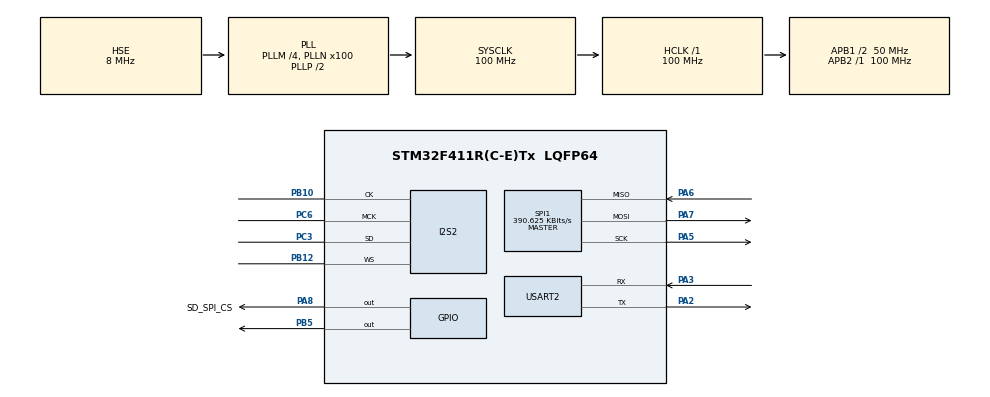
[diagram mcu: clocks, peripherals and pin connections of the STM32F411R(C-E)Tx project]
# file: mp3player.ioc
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Dma.Request0=SPI2_TX
Dma.SPI2_TX.0.Direction=DMA_MEMORY_TO_PERIPH
Dma.SPI2_TX.0.FIFOMode=DMA_FIFOMODE_ENABLE
Dma.SPI2_TX.0.FIFOThreshold=DMA_FIFO_THRESHOLD_FULL
Dma.SPI2_TX.0.Instance=DMA1_Stream4
Dma.SPI2_TX.0.MemBurst=DMA_MBURST_SINGLE
Dma.SPI2_TX.0.MemDataAlignment=DMA_MDATAALIGN_HALFWORD
Dma.SPI2_TX.0.MemInc=DMA_MINC_ENABLE
Dma.SPI2_TX.0.Mode=DMA_CIRCULAR
Dma.SPI2_TX.0.PeriphBurst=DMA_PBURST_SINGLE
Dma.SPI2_TX.0.PeriphDataAlignment=DMA_PDATAALIGN_HALFWORD
Dma.SPI2_TX.0.PeriphInc=DMA_PINC_DISABLE
Dma.SPI2_TX.0.Priority=DMA_PRIORITY_MEDIUM
FATFS._MAX_LFN=255
FATFS._USE_LFN=3
FREERTOS.BinarySemaphores01=i2sDmaDoneSem,Dynamic,NULL,Available
FREERTOS.Queues01=sdQueue,16,SD_Job_t*,0,Dynamic,NULL,NULL;uartQueue,8,char*,0,Dynamic,NULL,NULL;freeBufferQueue,4,void*,0,Dynamic,NULL,NULL;filledBufferQueue,4,void*,0,Dynamic,NULL,NULL
FREERTOS.Tasks01=defaultTask,0,128,StartDefaultTask,Default,NULL,Dynamic,NULL,NULL;GUI_Task,-1,1024,GUI_Start,Default,NULL,Dynamic,NULL,NULL;Audio_Task,3,256,Audio_Start,Default,NULL,Dynamic,NULL,NULL;Mp3Decoder_Task,2,8192,Decoder_Start,Default,NULL,Dynamic,NULL,NULL;SdCard_Task,1,512,SD_Start,Default,NULL,Dynamic,NULL,NULL;Playback_Task,0,256,Playback_Start,Default,NULL,Dynamic,NULL,NULL;UART_Task,-2,512,UART_Start,Default,NULL,Dynamic,NULL,NULL
FREERTOS.configCHECK_FOR_STACK_OVERFLOW=2
FREERTOS.configTOTAL_HEAP_SIZE=65536
I2S2.AudioFreq=I2S_AUDIOFREQ_44K
I2S2.ErrorAudioFreq=10.97 %
I2S2.FullDuplexMode=I2S_FULLDUPLEXMODE_DISABLE
I2S2.Instance=SPI$Index
I2S2.RealAudioFreq=48.828 KHz
I2S2.VirtualMode=I2S_MODE_MASTER
Mcu.Family=STM32F4
Mcu.Name=STM32F411R(C-E)Tx
Mcu.Package=LQFP64
NVIC.DMA1_Stream4_IRQn=true\:5\:0\:false\:false\:true\:true\:false\:true\:true
NVIC.PriorityGroup=NVIC_PRIORITYGROUP_4
NVIC.TIM1_UP_TIM10_IRQn=true\:15\:0\:false\:false\:true\:false\:false\:true\:true
NVIC.TimeBase=TIM1_UP_TIM10_IRQn
NVIC.TimeBaseIP=TIM1
PA13.Mode=Serial_Wire
PA13.Signal=SYS_JTMS-SWDIO
PA14.Mode=Serial_Wire
PA14.Signal=SYS_JTCK-SWCLK
PA2.Mode=Asynchronous
PA2.Signal=USART2_TX
PA3.Mode=Asynchronous
PA3.Signal=USART2_RX
PA5.GPIO_PuPd=GPIO_PULLUP
PA5.Mode=Full_Duplex_Master
PA5.Signal=SPI1_SCK
PA6.GPIO_PuPd=GPIO_PULLUP
PA6.Mode=Full_Duplex_Master
PA6.Signal=SPI1_MISO
PA7.GPIO_PuPd=GPIO_PULLUP
PA7.Mode=Full_Duplex_Master
PA7.Signal=SPI1_MOSI
PA8.GPIO_Label=SD_SPI_CS
PA8.GPIO_PuPd=GPIO_PULLUP
PA8.GPIO_Speed=GPIO_SPEED_FREQ_VERY_HIGH
PA8.PinState=GPIO_PIN_SET
PA8.Signal=GPIO_Output
PB10.Mode=Half_Duplex_Master
PB10.Signal=I2S2_CK
PB12.Mode=Half_Duplex_Master
PB12.Signal=I2S2_WS
PB5.Signal=GPIO_Output
PC3.Mode=Half_Duplex_Master
PC3.Signal=I2S2_SD
PC6.Mode=Master_Clock_Activated
PC6.Signal=I2S2_MCK
PH0\ -\ OSC_IN.Mode=HSE-External-Oscillator
PH0\ -\ OSC_IN.Signal=RCC_OSC_IN
PH1\ -\ OSC_OUT.Mode=HSE-External-Oscillator
PH1\ -\ OSC_OUT.Signal=RCC_OSC_OUT
ProjectManager.HeapSize=0x200
ProjectManager.StackSize=0x400
ProjectManager.TargetToolchain=CMake
RCC.48MHZClocksFreq_Value=50000000
RCC.AHBFreq_Value=100000000
RCC.APB1CLKDivider=RCC_HCLK_DIV2
RCC.APB1Freq_Value=50000000
RCC.APB1TimFreq_Value=100000000
RCC.APB2Freq_Value=100000000
RCC.APB2TimFreq_Value=100000000
RCC.CortexFreq_Value=100000000
RCC.EnbaleCSS=true
RCC.FLatency-AdvancedSettings=FLASH_LATENCY_3
RCC.HCLKFreq_Value=100000000
RCC.HSE_VALUE=8000000
RCC.HSI_VALUE=16000000
RCC.LSE_VALUE=32768
RCC.PLLI2SM=4
RCC.PLLI2SN=50
RCC.PLLM=4
RCC.PLLN=100
RCC.PLLSourceVirtual=RCC_PLLSOURCE_HSE
RCC.SYSCLKFreq_VALUE=100000000
RCC.SYSCLKSource=RCC_SYSCLKSOURCE_PLLCLK
RCC.VCOOutputFreq_Value=200000000
SPI1.BaudRatePrescaler=SPI_BAUDRATEPRESCALER_256
SPI1.CalculateBaudRate=390.625 KBits/s
SPI1.Direction=SPI_DIRECTION_2LINES
SPI1.Mode=SPI_MODE_MASTER
SPI1.VirtualType=VM_MASTER
USART2.VirtualMode=VM_ASYNC
VP_FATFS_VS_Generic.Mode=User_defined
VP_FREERTOS_VS_CMSIS_V1.Mode=CMSIS_V1
VP_SYS_VS_tim1.Mode=TIM1
board=NUCLEO-F411RE

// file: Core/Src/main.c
/* USER CODE BEGIN Header */
/**
  ******************************************************************************
  * @file           : main.c
  * @brief          : Main program body
  ******************************************************************************
  * @attention
  *
  * Copyright (c) 2025 STMicroelectronics.
  * All rights reserved.
  *
  * This software is licensed under terms that can be found in the LICENSE file
  * in the root directory of this software component.
  * If no LICENSE file comes with this software, it is provided AS-IS.
  *
  ******************************************************************************
  */
/* USER CODE END Header */
#include "main.h"
#include "cmsis_os.h"
#include "fatfs.h"

/* USER CODE BEGIN Includes */
#include <stdint.h>
#include <string.h>
#include <stdarg.h> //for va_list var arg functions
#include <stdio.h>
#include "SDCard.h"
#include "ff.h"
#include "portmacro.h"
#include "stm32f411xe.h"
#include "stm32f4xx_hal_def.h"
#include "stm32f4xx_hal_gpio.h"
#define MINIMP3_IMPLEMENTATION
#define MINIMP3_ONLY_MP3
#include "minimp3.h"
/* USER CODE END Includes */

/* USER CODE BEGIN PD */

#define STREAM_BUFFER_NUM 4
#define STREAM_BUFFER_SIZE 2048 //use 2KB for buffer
/* USER CODE END PD */

I2S_HandleTypeDef hi2s2;
DMA_HandleTypeDef hdma_spi2_tx;

SPI_HandleTypeDef hspi1;

UART_HandleTypeDef huart2;

osThreadId defaultTaskHandle;
osThreadId GUI_TaskHandle;
osThreadId Audio_TaskHandle;
osThreadId Mp3Decoder_TaskHandle;
osThreadId SdCard_TaskHandle;
osThreadId Playback_TaskHandle;
osThreadId UART_TaskHandle;
osMessageQId sdQueueHandle;
osMessageQId uartQueueHandle;
osMessageQId freeBufferQueueHandle;
osMessageQId filledBufferQueueHandle;
osSemaphoreId i2sDmaDoneSemHandle;
/* USER CODE BEGIN PV */
static uint8_t sdBuffers[STREAM_BUFFER_NUM][STREAM_BUFFER_SIZE];
/* USER CODE END PV */

void SystemClock_Config(void);
static void MX_GPIO_Init(void);
static void MX_DMA_Init(void);
static void MX_SPI1_Init(void);
static void MX_USART2_UART_Init(void);
static void MX_I2S2_Init(void);
void StartDefaultTask(void const * argument);
void GUI_Start(void const * argument);
void Audio_Start(void const * argument);
void Decoder_Start(void const * argument);
void SD_Start(void const * argument);
void Playback_Start(void const * argument);
void UART_Start(void const * argument);

/* USER CODE BEGIN PFP */
void myprintf(const char *fmt, ...);
/* USER CODE END PFP */

/* USER CODE BEGIN 0 */
void myprintf(const char *fmt, ...) {
  char buffer[256];
  va_list args;
  va_start(args, fmt);
  vsnprintf(buffer, sizeof(buffer), fmt, args);
  va_end(args);
  char *msg = pvPortMalloc(strlen(buffer)+1);
  strcpy(msg, buffer);
  xQueueSend(uartQueueHandle, &msg, portMAX_DELAY);

}

void HAL_I2S_TxCpltCallback(I2S_HandleTypeDef *hi2s)
{
  BaseType_t woken = pdFALSE;
  xSemaphoreGiveFromISR(i2sDmaDoneSemHandle, &woken);
  portYIELD_FROM_ISR(woken);
}
/* USER CODE END 0 */

int main(void)
{

  /* MCU Configuration--------------------------------------------------------*/

  /* Reset of all peripherals, Initializes the Flash interface and the Systick. */
  HAL_Init();

  /* Configure the system clock */
  SystemClock_Config();

  /* Initialize all configured peripherals */
  MX_GPIO_Init();
  MX_DMA_Init();
  MX_SPI1_Init();
  MX_USART2_UART_Init();
  MX_FATFS_Init();
  MX_I2S2_Init();

  /* Create the semaphores(s) */
  /* definition and creation of i2sDmaDoneSem */
  osSemaphoreDef(i2sDmaDoneSem);
  i2sDmaDoneSemHandle = osSemaphoreCreate(osSemaphore(i2sDmaDoneSem), 1);

  /* Create the queue(s) */
  /* definition and creation of sdQueue */
  osMessageQDef(sdQueue, 16, SD_Job_t*);
  sdQueueHandle = osMessageCreate(osMessageQ(sdQueue), NULL);

  /* definition and creation of uartQueue */
  osMessageQDef(uartQueue, 8, char*);
  uartQueueHandle = osMessageCreate(osMessageQ(uartQueue), NULL);

  /* definition and creation of freeBufferQueue */
  osMessageQDef(freeBufferQueue, 4, void*);
  freeBufferQueueHandle = osMessageCreate(osMessageQ(freeBufferQueue), NULL);

  /* definition and creation of filledBufferQueue */
  osMessageQDef(filledBufferQueue, 4, void*);
  filledBufferQueueHandle = osMessageCreate(osMessageQ(filledBufferQueue), NULL);

  /* Create the thread(s) */
  /* definition and creation of defaultTask */
  osThreadDef(defaultTask, StartDefaultTask, osPriorityNormal, 0, 128);
  defaultTaskHandle = osThreadCreate(osThread(defaultTask), NULL);

  /* definition and creation of GUI_Task */
  osThreadDef(GUI_Task, GUI_Start, osPriorityBelowNormal, 0, 1024);
  GUI_TaskHandle = osThreadCreate(osThread(GUI_Task), NULL);

  /* definition and creation of Audio_Task */
  osThreadDef(Audio_Task, Audio_Start, osPriorityRealtime, 0, 256);
  Audio_TaskHandle = osThreadCreate(osThread(Audio_Task), NULL);

  /* definition and creation of Mp3Decoder_Task */
  osThreadDef(Mp3Decoder_Task, Decoder_Start, osPriorityHigh, 0, 8192);
  Mp3Decoder_TaskHandle = osThreadCreate(osThread(Mp3Decoder_Task), NULL);

  /* definition and creation of SdCard_Task */
  osThreadDef(SdCard_Task, SD_Start, osPriorityAboveNormal, 0, 512);
  SdCard_TaskHandle = osThreadCreate(osThread(SdCard_Task), NULL);

  /* definition and creation of Playback_Task */
  osThreadDef(Playback_Task, Playback_Start, osPriorityNormal, 0, 256);
  Playback_TaskHandle = osThreadCreate(osThread(Playback_Task), NULL);

  /* definition and creation of UART_Task */
  osThreadDef(UART_Task, UART_Start, osPriorityLow, 0, 512);
  UART_TaskHandle = osThreadCreate(osThread(UART_Task), NULL);

  /* Start scheduler */
  osKernelStart();

  /* We should never get here as control is now taken by the scheduler */

  /* Infinite loop */
  while (1)
  {

  }
}

void SystemClock_Config(void)
{
  RCC_OscInitTypeDef RCC_OscInitStruct = {0};
  RCC_ClkInitTypeDef RCC_ClkInitStruct = {0};

  /** Configure the main internal regulator output voltage
  */
  __HAL_RCC_PWR_CLK_ENABLE();
  __HAL_PWR_VOLTAGESCALING_CONFIG(PWR_REGULATOR_VOLTAGE_SCALE1);

  /** Initializes the RCC Oscillators according to the specified parameters
  * in the RCC_OscInitTypeDef structure.
  */
  RCC_OscInitStruct.OscillatorType = RCC_OSCILLATORTYPE_HSE;
  RCC_OscInitStruct.HSEState = RCC_HSE_ON;
  RCC_OscInitStruct.PLL.PLLState = RCC_PLL_ON;
  RCC_OscInitStruct.PLL.PLLSource = RCC_PLLSOURCE_HSE;
  RCC_OscInitStruct.PLL.PLLM = 4;
  RCC_OscInitStruct.PLL.PLLN = 100;
  RCC_OscInitStruct.PLL.PLLP = RCC_PLLP_DIV2;
  RCC_OscInitStruct.PLL.PLLQ = 4;
  if (HAL_RCC_OscConfig(&RCC_OscInitStruct) != HAL_OK)
  {
    Error_Handler();
  }

  /** Initializes the CPU, AHB and APB buses clocks
  */
  RCC_ClkInitStruct.ClockType = RCC_CLOCKTYPE_HCLK|RCC_CLOCKTYPE_SYSCLK
                              |RCC_CLOCKTYPE_PCLK1|RCC_CLOCKTYPE_PCLK2;
  RCC_ClkInitStruct.SYSCLKSource = RCC_SYSCLKSOURCE_PLLCLK;
  RCC_ClkInitStruct.AHBCLKDivider = RCC_SYSCLK_DIV1;
  RCC_ClkInitStruct.APB1CLKDivider = RCC_HCLK_DIV2;
  RCC_ClkInitStruct.APB2CLKDivider = RCC_HCLK_DIV1;

  if (HAL_RCC_ClockConfig(&RCC_ClkInitStruct, FLASH_LATENCY_3) != HAL_OK)
  {
    Error_Handler();
  }

  /** Enables the Clock Security System
  */
  HAL_RCC_EnableCSS();
}

static void MX_I2S2_Init(void)
{

  hi2s2.Instance = SPI2;
  hi2s2.Init.Mode = I2S_MODE_MASTER_TX;
  hi2s2.Init.Standard = I2S_STANDARD_PHILIPS;
  hi2s2.Init.DataFormat = I2S_DATAFORMAT_16B;
  hi2s2.Init.MCLKOutput = I2S_MCLKOUTPUT_ENABLE;
  hi2s2.Init.AudioFreq = I2S_AUDIOFREQ_44K;
  hi2s2.Init.CPOL = I2S_CPOL_LOW;
  hi2s2.Init.ClockSource = I2S_CLOCK_PLL;
  hi2s2.Init.FullDuplexMode = I2S_FULLDUPLEXMODE_DISABLE;
  if (HAL_I2S_Init(&hi2s2) != HAL_OK)
  {
    Error_Handler();
  }

}

static void MX_SPI1_Init(void)
{

  /* SPI1 parameter configuration*/
  hspi1.Instance = SPI1;
  hspi1.Init.Mode = SPI_MODE_MASTER;
  hspi1.Init.Direction = SPI_DIRECTION_2LINES;
  hspi1.Init.DataSize = SPI_DATASIZE_8BIT;
  hspi1.Init.CLKPolarity = SPI_POLARITY_LOW;
  hspi1.Init.CLKPhase = SPI_PHASE_1EDGE;
  hspi1.Init.NSS = SPI_NSS_SOFT;
  hspi1.Init.BaudRatePrescaler = SPI_BAUDRATEPRESCALER_256;
  hspi1.Init.FirstBit = SPI_FIRSTBIT_MSB;
  hspi1.Init.TIMode = SPI_TIMODE_DISABLE;
  hspi1.Init.CRCCalculation = SPI_CRCCALCULATION_DISABLE;
  hspi1.Init.CRCPolynomial = 10;
  if (HAL_SPI_Init(&hspi1) != HAL_OK)
  {
    Error_Handler();
  }

}

static void MX_USART2_UART_Init(void)
{

  huart2.Instance = USART2;
  huart2.Init.BaudRate = 115200;
  huart2.Init.WordLength = UART_WORDLENGTH_8B;
  huart2.Init.StopBits = UART_STOPBITS_1;
  huart2.Init.Parity = UART_PARITY_NONE;
  huart2.Init.Mode = UART_MODE_TX_RX;
  huart2.Init.HwFlowCtl = UART_HWCONTROL_NONE;
  huart2.Init.OverSampling = UART_OVERSAMPLING_16;
  if (HAL_UART_Init(&huart2) != HAL_OK)
  {
    Error_Handler();
  }

}

static void MX_DMA_Init(void)
{

  /* DMA controller clock enable */
  __HAL_RCC_DMA1_CLK_ENABLE();

  /* DMA interrupt init */
  /* DMA1_Stream4_IRQn interrupt configuration */
  HAL_NVIC_SetPriority(DMA1_Stream4_IRQn, 5, 0);
  HAL_NVIC_EnableIRQ(DMA1_Stream4_IRQn);

}

static void MX_GPIO_Init(void)
{
  GPIO_InitTypeDef GPIO_InitStruct = {0};

  /* GPIO Ports Clock Enable */
  __HAL_RCC_GPIOH_CLK_ENABLE();
  __HAL_RCC_GPIOC_CLK_ENABLE();
  __HAL_RCC_GPIOA_CLK_ENABLE();
  __HAL_RCC_GPIOB_CLK_ENABLE();

  /*Configure GPIO pin Output Level */
  HAL_GPIO_WritePin(SD_SPI_CS_GPIO_Port, SD_SPI_CS_Pin, GPIO_PIN_SET);

  /*Configure GPIO pin Output Level */
  HAL_GPIO_WritePin(GPIOB, GPIO_PIN_5, GPIO_PIN_RESET);

  /*Configure GPIO pin : SD_SPI_CS_Pin */
  GPIO_InitStruct.Pin = SD_SPI_CS_Pin;
  GPIO_InitStruct.Mode = GPIO_MODE_OUTPUT_PP;
  GPIO_InitStruct.Pull = GPIO_PULLUP;
  GPIO_InitStruct.Speed = GPIO_SPEED_FREQ_VERY_HIGH;
  HAL_GPIO_Init(SD_SPI_CS_GPIO_Port, &GPIO_InitStruct);

  /*Configure GPIO pin : PB5 */
  GPIO_InitStruct.Pin = GPIO_PIN_5;
  GPIO_InitStruct.Mode = GPIO_MODE_OUTPUT_PP;
  GPIO_InitStruct.Pull = GPIO_NOPULL;
  GPIO_InitStruct.Speed = GPIO_SPEED_FREQ_LOW;
  HAL_GPIO_Init(GPIOB, &GPIO_InitStruct);

}

void StartDefaultTask(void const * argument)
{
  /* USER CODE BEGIN 5 */
  /* Infinite loop */
    // create sd job
    static SD_Job_t job;
    char filename[] = "TOPIMPABUTTERFLY";
    job.type = SD_JOB_LISTDIRECTORY;
    strcpy(job.filename, filename);
    SD_SubmitJob(&job, sdQueueHandle);
    for(;;)
    {
        osDelay(1);
    }
  /* USER CODE END 5 */
}

void GUI_Start(void const * argument)
{
  for(;;)
  {
    osDelay(1);
  }
}

void Audio_Start(void const * argument)
{
  for(;;)
  {
    osDelay(1);
  }
}

void Decoder_Start(void const * argument)
{
  /* USER CODE BEGIN Decoder_Start */
  void *buf;
  static mp3dec_t mp3d;
  static mp3dec_frame_info_t info;
  mp3dec_init(&mp3d);
  static int16_t pcm[STREAM_BUFFER_SIZE];  // PCM output buffer
  int bytesConsumed;
  vQueueAddToRegistry(i2sDmaDoneSemHandle, "I2S Semaphore");
  myprintf("Total current stack is : %d\n", sizeof(mp3d)+sizeof(info)+sizeof(pcm)+sizeof(mp3dec_scratch_t) + sizeof(bs_t));
  /* Infinite loop */
  for(;;)
  {
    if (xQueueReceive(filledBufferQueueHandle, &buf, portMAX_DELAY)){
      uint8_t *mp3Data = (uint8_t*)buf;
      int bytesLeft = STREAM_BUFFER_SIZE;
      while (bytesLeft > 0)
      {
        int samplesDecoded = mp3dec_decode_frame(&mp3d, mp3Data, bytesLeft, pcm, &info);
        if (samplesDecoded > 0)
        {
            // Transmit PCM to I2S using DMA
            HAL_I2S_Transmit_DMA(&hi2s2, (uint16_t*)pcm, samplesDecoded * 2); // stereo

            // Wait for DMA complete
            xSemaphoreTake(i2sDmaDoneSemHandle, portMAX_DELAY);
        }
        bytesConsumed = info.frame_bytes;;
        mp3Data += bytesConsumed;
        bytesLeft -= bytesConsumed;
      }
      // Return SD buffer to free pool
      xQueueSend(freeBufferQueueHandle, &buf, portMAX_DELAY);

    }

  }
  /* USER CODE END Decoder_Start */
}

void SD_Start(void const * argument)
{
  /* USER CODE BEGIN SD_Start */
  /* Infinite loop */
    SD_Job_t *currentJob;
    FIL file;
    FRESULT res;
    void* stream_buffer;
    osDelay(1000);
    /* Initialize buffers */
    for (int i = 0; i < STREAM_BUFFER_NUM; i++) {
      void *ptr = sdBuffers[i];
      xQueueSend(freeBufferQueueHandle, &ptr, 0);
    }
    // debug purpose
    vQueueAddToRegistry(freeBufferQueueHandle, "Free Buffers");
    vQueueAddToRegistry(filledBufferQueueHandle, "Filled Buffers");
    vQueueAddToRegistry(sdQueueHandle, "SD Jobs");
    /* Initialie SD Card*/
    res = SD_Initialize();
    if (res != FR_OK)
    {
        myprintf("Failed to initialize SD Card with error %d\n", res);
        while(1);
    }
    myprintf("SD Initialized.\n");
    for(;;)
    {
        /* State Machine handling*/
        if (xQueueReceive(sdQueueHandle, &currentJob, portMAX_DELAY) == pdPASS)
        {
            switch (currentJob->type) {
                case SD_JOB_CREATE:
                {
                    res = f_open(&file, currentJob->filename, FA_CREATE_NEW | FA_WRITE);
                    if (res == FR_OK) f_close(&file);
                    currentJob->status = (res == FR_OK || res == FR_EXIST) ? SD_JOB_SUCCESS : SD_JOB_FAILED;
                    currentJob->fresult = res;
                    break;
                }
                case SD_JOB_READ:
                {
                    res = f_open(&file, currentJob->filename, FA_READ);
                    if ( res == FR_OK) res = f_read(&file, currentJob->buffer, currentJob->length, &(currentJob->bytesTransferred));
                    f_close(&file);
                    currentJob->status = (res == FR_OK) ? SD_JOB_SUCCESS : SD_JOB_FAILED;
                    currentJob->fresult = res;
                    break;
                }
                case SD_JOB_WRITE:
                {
                    res = f_open(&file, currentJob->filename, FA_WRITE | FA_OPEN_ALWAYS);
                    if (res == FR_OK) res = f_lseek(&file, f_size(&file));  // Move to EOF to append
                    if (res == FR_OK) res = f_write(&file, currentJob->buffer, currentJob->length, &(currentJob->bytesTransferred));
                    f_close(&file);
                    currentJob->status = (res == FR_OK) ? SD_JOB_SUCCESS : SD_JOB_FAILED;
                    currentJob->fresult = res;
                    break;
                }
                case SD_JOB_GETINFO:
                {
                    res = SD_GetInfo(&(currentJob->info->totalMB), &(currentJob->info->freeMB));
                    currentJob->status = (res == FR_OK) ? SD_JOB_SUCCESS : SD_JOB_FAILED;
                    currentJob->fresult = res;
                    break;

                }
                case SD_JOB_FORMAT:
                {
                    BYTE work[_MAX_SS];
                    res = f_mkfs("", FM_ANY, 0, work, sizeof(work));
                    currentJob->status = (res == FR_OK) ? SD_JOB_SUCCESS : SD_JOB_FAILED;
                    currentJob->fresult = res;
                    break;
                }
                case SD_JOB_LISTDIRECTORY:
                {
                    DIR dir;
                    FILINFO fno;
                    FRESULT res;
                    res = f_opendir(&dir, currentJob->filename);
                    if ( res != FR_OK) {
                        myprintf("Failed to open directory.\n");
                    }
                    else
                    {
                      myprintf("List of music in %s:\n", currentJob->filename);
                      while (f_readdir(&dir, &fno) == FR_OK && fno.fname[0]) {
                          // Format output: add file/dir type, size, etc. as needed
                          myprintf("\t%s/%s\n",currentJob->filename, fno.fname);
                      }
                      res = f_closedir(&dir);
                    }
                    currentJob->status = (res == FR_OK) ? SD_JOB_SUCCESS : SD_JOB_FAILED;
                    currentJob->fresult = res;

                    break;
                }
                case SD_JOB_DELETE:
                {
                    res = f_unlink(currentJob->filename);
                    currentJob->status = (res == FR_OK) ? SD_JOB_SUCCESS : SD_JOB_FAILED;
                    currentJob->fresult = res;
                    break;
                }
                case SD_JOB_STREAM:
                {
                  res = f_open(&file, currentJob->filename, FA_READ);
                  for (;;){
                    if (xQueueReceive(freeBufferQueueHandle, &stream_buffer, portMAX_DELAY)){
                      f_read(&file, stream_buffer, STREAM_BUFFER_SIZE, &(currentJob->bytesTransferred));
                      xQueueSend(filledBufferQueueHandle, &stream_buffer, portMAX_DELAY);

                      if (currentJob->bytesTransferred < STREAM_BUFFER_SIZE){
                        // EOF reached, job done
                        currentJob->status = SD_JOB_SUCCESS;
                        break;
                      }
                    }
                  }

                  break;
                }
                default:
                {
                    // Unknown job type
                    currentJob->status = SD_JOB_FAILED;
                    currentJob->fresult = FR_INVALID_PARAMETER;
                    break;
                }
            }
        }
    }
  /* USER CODE END SD_Start */
}

void Playback_Start(void const * argument)
{
  /* USER CODE BEGIN Playback_Start */
  /* Infinite loop */
  //create sd job
  static SD_Job_t job;
  char filename[] = "TOPIMPABUTTERFLY/03 King Kunta.mp3";
  job.type = SD_JOB_STREAM;
  strcpy(job.filename, filename);
  SD_SubmitJob(&job, sdQueueHandle);
  for(;;)
  {
    osDelay(1);
  }
  /* USER CODE END Playback_Start */
}

void UART_Start(void const * argument)
{
  /* USER CODE BEGIN UART_Start */
  /* Infinite loop */
  char* msg;
  // debug purpose
  vQueueAddToRegistry(uartQueueHandle, "UART Msg");
  for(;;)
  {
    if (xQueueReceive(uartQueueHandle, &(msg), portMAX_DELAY)){
        HAL_UART_Transmit(&huart2, (uint8_t*)msg, strlen(msg), HAL_MAX_DELAY);
        vPortFree(msg);
    }
  }
  /* USER CODE END UART_Start */
}

void HAL_TIM_PeriodElapsedCallback(TIM_HandleTypeDef *htim)
{
  if (htim->Instance == TIM1)
  {
    HAL_IncTick();
  }
}

void Error_Handler(void)
{
  __disable_irq();
  while (1)
  {
  }
}

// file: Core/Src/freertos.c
/* USER CODE BEGIN Header */
/**
  ******************************************************************************
  * File Name          : freertos.c
  * Description        : Code for freertos applications
  ******************************************************************************
  * @attention
  *
  * Copyright (c) 2025 STMicroelectronics.
  * All rights reserved.
  *
  * This software is licensed under terms that can be found in the LICENSE file
  * in the root directory of this software component.
  * If no LICENSE file comes with this software, it is provided AS-IS.
  *
  ******************************************************************************
  */
/* USER CODE END Header */

#include "FreeRTOS.h"
#include "task.h"
#include "main.h"

/* GetIdleTaskMemory prototype (linked to static allocation support) */
void vApplicationGetIdleTaskMemory( StaticTask_t **ppxIdleTaskTCBBuffer, StackType_t **ppxIdleTaskStackBuffer, uint32_t *pulIdleTaskStackSize );

/* Hook prototypes */
void vApplicationStackOverflowHook(xTaskHandle xTask, signed char *pcTaskName);

/* USER CODE BEGIN 4 */
__weak void vApplicationStackOverflowHook(xTaskHandle xTask, signed char *pcTaskName)
{
  while(1)
  {

  }
   /* Run time stack overflow checking is performed if
   configCHECK_FOR_STACK_OVERFLOW is defined to 1 or 2. This hook function is
   called if a stack overflow is detected. */
}
/* USER CODE END 4 */

/* USER CODE BEGIN GET_IDLE_TASK_MEMORY */
static StaticTask_t xIdleTaskTCBBuffer;
static StackType_t xIdleStack[configMINIMAL_STACK_SIZE];

void vApplicationGetIdleTaskMemory( StaticTask_t **ppxIdleTaskTCBBuffer, StackType_t **ppxIdleTaskStackBuffer, uint32_t *pulIdleTaskStackSize )
{
  *ppxIdleTaskTCBBuffer = &xIdleTaskTCBBuffer;
  *ppxIdleTaskStackBuffer = &xIdleStack[0];
  *pulIdleTaskStackSize = configMINIMAL_STACK_SIZE;
  /* place for user code */
}
/* USER CODE END GET_IDLE_TASK_MEMORY */
